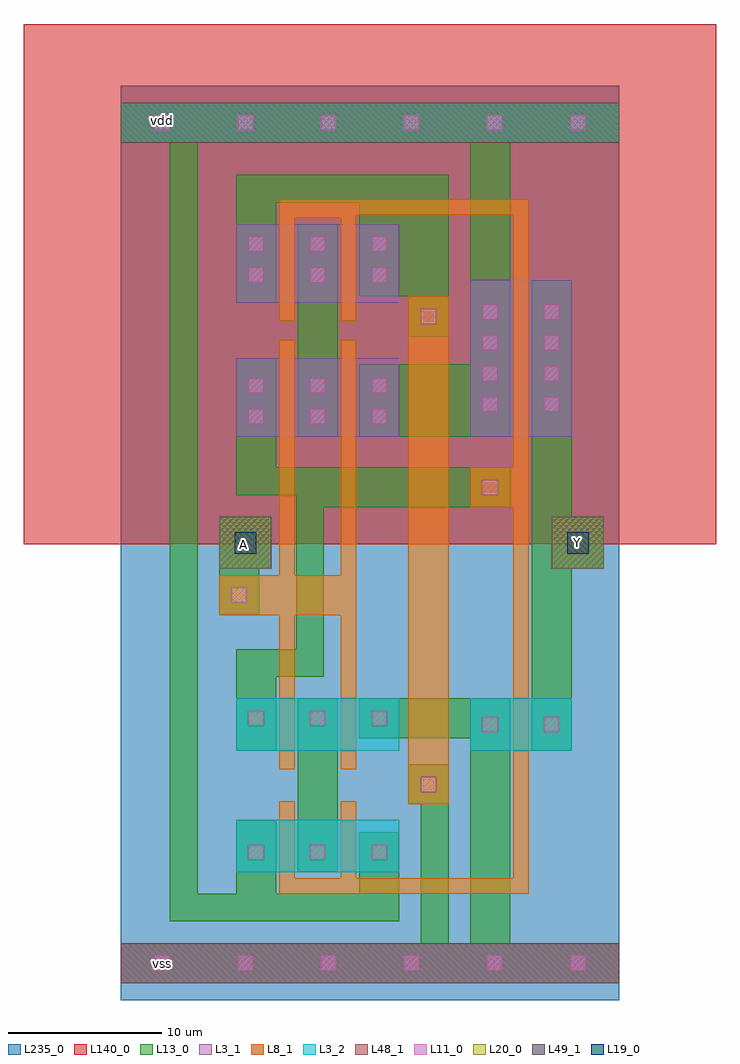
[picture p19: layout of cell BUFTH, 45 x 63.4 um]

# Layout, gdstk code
import gdstk
lib = gdstk.Library(unit=1e-6, precision=1e-09)
def R(c, l, rs):  # rectangles x0, y0, x1, y1
    for r in rs: c.add(gdstk.rectangle(r[:2], r[2:], *l))
def A(c, l, x, y, w, h, nx, ny, dx, dy):  # array of equal rectangles
    R(c, l, [(x+i*dx, y+j*dy, x+i*dx+w, y+j*dy+h) for i in range(nx) for j in range(ny)])
def P(c, l, *ps):  # polygons
    for p in ps: c.add(gdstk.Polygon(p, *l))
L3_1 = (3, 1)
L3_2 = (3, 2)
L8_1 = (8, 1)
L11_0 = (11, 0)
L13_0 = (13, 0)
L19_0 = (19, 0)
L20_0 = (20, 0)
L48_1 = (48, 1)
L49_1 = (49, 1)
L140_0 = (140, 0)
L235_0 = (235, 0)

bufth = lib.new_cell('BUFTH')
R(bufth, L3_1, [(0,1.1,16.2,3.7), (16.2,1.1,32.4,3.7), (7.5,36.6,18.1,41.7), (22.7,36.6,29.3,46.8), (7.5,45.3,14.1,50.4), (11.5,45.3,18.1,50.4)])
R(bufth, L3_2, [(7.5,8.3,18.1,11.7), (7.5,8.3,18.1,11.7), (7.5,16.2,18.1,19.6), (7.5,16.2,18.1,19.6), (22.7,16.2,29.3,19.6), (0,55.7,16.2,58.3), (16.2,55.7,32.4,58.3)])
R(bufth, L8_1, [(18.7,12.7,21.3,45.7)])
P(bufth, L8_1, [(10.3,15),(10.3,25),(6.4,25),(6.4,27.6),(10.3,27.6),(10.3,42.9),(11.3,42.9),(11.3,27.6),(14.3,27.6),(14.3,42.9),(15.3,42.9),(15.3,15),(14.3,15),(14.3,25),(11.3,25),(11.3,15)],
  [(10.3,6.9),(10.3,12.9),(11.3,12.9),(11.3,7.9),(14.3,7.9),(14.3,12.9),(15.3,12.9),(15.3,7.9),(25.5,7.9),(25.5,32),(22.7,32),(22.7,34.6),(25.5,34.6),(25.5,51),(15.3,51),(15.3,44.1),(14.3,44.1),(14.3,50.8),(11.3,50.8),(11.3,44.1),(10.3,44.1),(10.3,52),(26.5,52),(26.5,6.9)])
A(bufth, L11_0, 7.6, 1.9, 1, 1, 4, 1, 5.4, 0)
A(bufth, L11_0, 23.5, 38.2, 1, 1, 1, 4, 0, 2)
A(bufth, L11_0, 27.5, 38.2, 1, 1, 1, 4, 0, 2)
A(bufth, L11_0, 7.6, 56.5, 1, 1, 3, 1, 5.4, 0)
R(bufth, L11_0, [(2.2,1.9,3.2,2.9), (7.6,1.9,8.6,2.9), (23.8,1.9,24.8,2.9), (29.2,1.9,30.2,2.9), (8.3,9.1,9.3,10.1), (8.3,9.1,9.3,10.1), (12.3,9.1,13.3,10.1), (12.3,9.1,13.3,10.1), (16.3,9.1,17.3,10.1), (16.3,9.1,17.3,10.1), (19.5,13.5,20.5,14.5), (23.5,17.4,24.5,18.4), (27.5,17.4,28.5,18.4), (27.5,17.4,28.5,18.4), (8.3,17.8,9.3,18.8), (8.3,17.8,9.3,18.8), (12.3,17.8,13.3,18.8), (12.3,17.8,13.3,18.8), (16.3,17.8,17.3,18.8), (16.3,17.8,17.3,18.8), (7.2,25.8,8.2,26.8), (23.5,32.8,24.5,33.8), (8.3,37.4,9.3,38.4), (12.3,37.4,13.3,38.4), (12.3,37.4,13.3,38.4), (16.3,37.4,17.3,38.4), (8.3,39.4,9.3,40.4), (12.3,39.4,13.3,40.4), (12.3,39.4,13.3,40.4), (16.3,39.4,17.3,40.4), (19.5,43.9,20.5,44.9), (8.3,46.6,9.3,47.6), (12.3,46.6,13.3,47.6), (12.3,46.6,13.3,47.6), (16.3,46.6,17.3,47.6), (8.3,48.6,9.3,49.6), (12.3,48.6,13.3,49.6), (12.3,48.6,13.3,49.6), (16.3,48.6,17.3,49.6), (2.2,56.5,3.2,57.5), (2.2,56.5,3.2,57.5), (7.6,56.5,8.6,57.5), (7.6,56.5,8.6,57.5), (7.6,56.5,8.6,57.5), (18.4,56.5,19.4,57.5), (23.8,56.5,24.8,57.5), (23.8,56.5,24.8,57.5), (23.8,56.5,24.8,57.5), (23.8,56.5,24.8,57.5), (29.2,56.5,30.2,57.5)])
R(bufth, L13_0, [(0,1.1,32.4,3.7), (11.5,8.3,14.1,19.6), (6.4,25,9,28), (6.4,28,9.8,31.4), (11.5,36.6,14.1,50.4), (0,55.7,32.4,58.3)])
P(bufth, L13_0, [(7.5,16.2),(7.5,22.8),(11.4,22.8),(11.4,32.8),(7.5,32.8),(7.5,41.7),(10.1,41.7),(10.1,34.6),(13.2,34.6),(25.3,34.6),(25.3,32),(13.2,32),(13.2,21),(10.1,21),(10.1,16.2)],
  [(26.7,16.2),(26.7,46.8),(29.3,46.8),(29.3,31.4),(31.4,31.4),(31.4,28),(29.3,28),(29.3,16.2)],
  [(15.5,36.6),(15.5,41.3),(22.7,41.3),(22.7,55.7),(25.3,55.7),(25.3,36.6)],
  [(18.7,43.1),(18.7,45.7),(15.5,45.7),(15.5,51.8),(10.1,51.8),(10.1,45.3),(7.5,45.3),(7.5,53.6),(21.3,53.6),(21.3,43.1)],
  [(3.2,5.1),(3.2,55.7),(5,55.7),(5,6.9),(7.5,6.9),(7.5,11.7),(10.1,11.7),(10.1,6.9),(15.5,6.9),(15.5,10.9),(18.1,10.9),(18.1,5.1)],
  [(19.5,3.7),(19.5,12.7),(18.7,12.7),(18.7,15.3),(21.3,15.3),(21.3,3.7)],
  [(22.7,3.7),(22.7,17),(15.5,17),(15.5,19.6),(25.3,19.6),(25.3,3.7)])
R(bufth, L19_0, [(7.4,29,8.8,30.4), (29,29,30.4,30.4)])
R(bufth, L20_0, [(6.4,28,9.8,31.4), (28,28,31.4,31.4)])
R(bufth, L48_1, [(0,1.1,16.2,3.7), (16.2,1.1,32.4,3.7), (0,55.7,16.2,58.3), (16.2,55.7,32.4,58.3)])
R(bufth, L49_1, [(6.4,28,9.8,31.4), (28,28,31.4,31.4)])
R(bufth, L140_0, [(-6.3,29.6,38.7,63.4)])
R(bufth, L235_0, [(0,0,32.4,59.4)])
bufth.add(gdstk.Label('A', (8,29.6), layer=49, texttype=0))
bufth.add(gdstk.Label('Y', (29.7,29.7), layer=49, texttype=0))
bufth.add(gdstk.Label('vss', (2.7,2.4), layer=48, texttype=0))
bufth.add(gdstk.Label('vdd', (2.7,57.1), layer=48, texttype=0))

lib.write_gds('BUFTH.gds')
